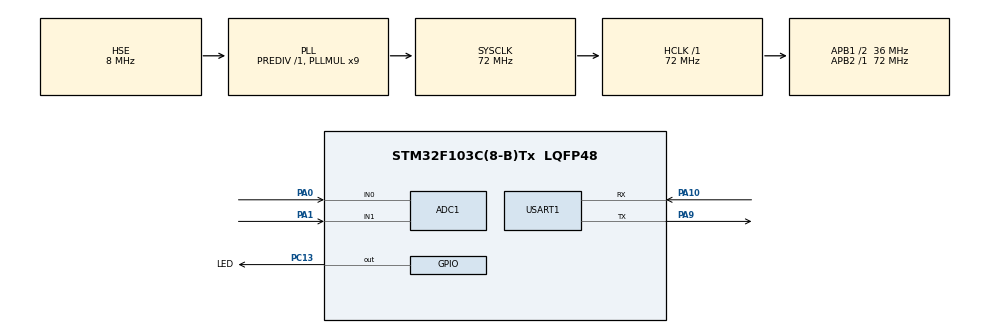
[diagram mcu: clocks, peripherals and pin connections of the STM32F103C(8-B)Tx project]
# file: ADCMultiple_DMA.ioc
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ADC1.Channel-0\#ChannelRegularConversion=ADC_CHANNEL_0
ADC1.Channel-1\#ChannelRegularConversion=ADC_CHANNEL_1
ADC1.ContinuousConvMode=ENABLE
ADC1.NbrOfConversion=2
ADC1.NbrOfConversionFlag=1
ADC1.Rank-0\#ChannelRegularConversion=1
ADC1.Rank-1\#ChannelRegularConversion=2
ADC1.SamplingTime-0\#ChannelRegularConversion=ADC_SAMPLETIME_1CYCLE_5
ADC1.SamplingTime-1\#ChannelRegularConversion=ADC_SAMPLETIME_1CYCLE_5
ADC1.master=1
Dma.ADC1.0.Direction=DMA_PERIPH_TO_MEMORY
Dma.ADC1.0.Instance=DMA1_Channel1
Dma.ADC1.0.MemDataAlignment=DMA_MDATAALIGN_HALFWORD
Dma.ADC1.0.MemInc=DMA_MINC_ENABLE
Dma.ADC1.0.Mode=DMA_NORMAL
Dma.ADC1.0.PeriphDataAlignment=DMA_PDATAALIGN_HALFWORD
Dma.ADC1.0.PeriphInc=DMA_PINC_DISABLE
Dma.ADC1.0.Priority=DMA_PRIORITY_LOW
Dma.Request0=ADC1
Mcu.Family=STM32F1
Mcu.Name=STM32F103C(8-B)Tx
Mcu.Package=LQFP48
NVIC.DMA1_Channel1_IRQn=true\:7\:0\:true\:false\:true\:false\:true\:true
NVIC.PriorityGroup=NVIC_PRIORITYGROUP_4
PA0-WKUP.Signal=ADCx_IN0
PA1.Signal=ADCx_IN1
PA10.Mode=Asynchronous
PA10.Signal=USART1_RX
PA13.Mode=Serial_Wire
PA13.Signal=SYS_JTMS-SWDIO
PA14.Mode=Serial_Wire
PA14.Signal=SYS_JTCK-SWCLK
PA9.Mode=Asynchronous
PA9.Signal=USART1_TX
PC13-TAMPER-RTC.GPIO_Label=LED
PC13-TAMPER-RTC.Signal=GPIO_Output
PD0-OSC_IN.Mode=HSE-External-Oscillator
PD0-OSC_IN.Signal=RCC_OSC_IN
PD1-OSC_OUT.Mode=HSE-External-Oscillator
PD1-OSC_OUT.Signal=RCC_OSC_OUT
ProjectManager.HeapSize=0x200
ProjectManager.StackSize=0x400
ProjectManager.TargetToolchain=MDK-ARM V5.32
RCC.ADCPresc=RCC_ADCPCLK2_DIV6
RCC.AHBFreq_Value=72000000
RCC.APB1CLKDivider=RCC_HCLK_DIV2
RCC.APB1Freq_Value=36000000
RCC.APB1TimFreq_Value=72000000
RCC.APB2Freq_Value=72000000
RCC.APB2TimFreq_Value=72000000
RCC.HCLKFreq_Value=72000000
RCC.PLLMUL=RCC_PLL_MUL9
RCC.PLLSourceVirtual=RCC_PLLSOURCE_HSE
RCC.SYSCLKFreq_VALUE=72000000
RCC.SYSCLKSource=RCC_SYSCLKSOURCE_PLLCLK
RCC.USBFreq_Value=72000000
SH.ADCx_IN0.0=ADC1_IN0,IN0
SH.ADCx_IN1.0=ADC1_IN1,IN1
USART1.VirtualMode=VM_ASYNC
board=custom

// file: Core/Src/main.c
/* USER CODE BEGIN Header */
/**
  ******************************************************************************
  * @file           : main.c
  * @brief          : Main program body
  ******************************************************************************
  * @attention
  *
  * Copyright (c) 2023 STMicroelectronics.
  * All rights reserved.
  *
  * This software is licensed under terms that can be found in the LICENSE file
  * in the root directory of this software component.
  * If no LICENSE file comes with this software, it is provided AS-IS.
  *
  ******************************************************************************
  */
/* USER CODE END Header */
#include "main.h"
#include "adc.h"
#include "dma.h"
#include "usart.h"
#include "gpio.h"

void SystemClock_Config(void);

/* USER CODE BEGIN 0 */
void dma_cir_and_adc_con(void);
void dma_nor_and_adc_con(void);
/* USER CODE END 0 */

int main(void)
{
  /* USER CODE BEGIN 1 */
	uint8_t time = 0;
  /* USER CODE END 1 */

  /* MCU Configuration--------------------------------------------------------*/

  /* Reset of all peripherals, Initializes the Flash interface and the Systick. */
  HAL_Init();

  /* Configure the system clock */
  SystemClock_Config();

  /* Initialize all configured peripherals */
  MX_GPIO_Init();
  MX_DMA_Init();
  MX_ADC1_Init();
  MX_USART1_UART_Init();
  /* USER CODE BEGIN 2 */
	HAL_ADCEx_Calibration_Start(&hadc1);
	HAL_ADC_Start_DMA(&hadc1, (uint32_t* )adc_buffer, ADCBUFFERSIZE);
  /* USER CODE END 2 */

  /* Infinite loop */
  /* USER CODE BEGIN WHILE */
  while (1)
  {
		if(time == 50)
		{
			HAL_GPIO_TogglePin(LED_GPIO_Port, LED_Pin);
			time = 0;
		}

		if(isadc)
		{
			isadc = 0;
//			dma_cir_and_adc_con();
			dma_nor_and_adc_con();
		}

		time++;
		HAL_Delay(10);
    /* USER CODE END WHILE */

  }
}

void SystemClock_Config(void)
{
  RCC_OscInitTypeDef RCC_OscInitStruct = {0};
  RCC_ClkInitTypeDef RCC_ClkInitStruct = {0};
  RCC_PeriphCLKInitTypeDef PeriphClkInit = {0};

  /** Initializes the RCC Oscillators according to the specified parameters
  * in the RCC_OscInitTypeDef structure.
  */
  RCC_OscInitStruct.OscillatorType = RCC_OSCILLATORTYPE_HSE;
  RCC_OscInitStruct.HSEState = RCC_HSE_ON;
  RCC_OscInitStruct.HSEPredivValue = RCC_HSE_PREDIV_DIV1;
  RCC_OscInitStruct.HSIState = RCC_HSI_ON;
  RCC_OscInitStruct.PLL.PLLState = RCC_PLL_ON;
  RCC_OscInitStruct.PLL.PLLSource = RCC_PLLSOURCE_HSE;
  RCC_OscInitStruct.PLL.PLLMUL = RCC_PLL_MUL9;
  if (HAL_RCC_OscConfig(&RCC_OscInitStruct) != HAL_OK)
  {
    Error_Handler();
  }

  /** Initializes the CPU, AHB and APB buses clocks
  */
  RCC_ClkInitStruct.ClockType = RCC_CLOCKTYPE_HCLK|RCC_CLOCKTYPE_SYSCLK
                              |RCC_CLOCKTYPE_PCLK1|RCC_CLOCKTYPE_PCLK2;
  RCC_ClkInitStruct.SYSCLKSource = RCC_SYSCLKSOURCE_PLLCLK;
  RCC_ClkInitStruct.AHBCLKDivider = RCC_SYSCLK_DIV1;
  RCC_ClkInitStruct.APB1CLKDivider = RCC_HCLK_DIV2;
  RCC_ClkInitStruct.APB2CLKDivider = RCC_HCLK_DIV1;

  if (HAL_RCC_ClockConfig(&RCC_ClkInitStruct, FLASH_LATENCY_2) != HAL_OK)
  {
    Error_Handler();
  }
  PeriphClkInit.PeriphClockSelection = RCC_PERIPHCLK_ADC;
  PeriphClkInit.AdcClockSelection = RCC_ADCPCLK2_DIV6;
  if (HAL_RCCEx_PeriphCLKConfig(&PeriphClkInit) != HAL_OK)
  {
    Error_Handler();
  }
}

/* USER CODE BEGIN 4 */
void HAL_ADC_ConvCpltCallback(ADC_HandleTypeDef* hadc)
{
	if(hadc == &hadc1)
	{
		isadc = 1;

	}
}

void dma_cir_and_adc_con(void)
{
	uint16_t senddata[ADCCHANNELNUM] = {0};
	for(int adcchannel = 0; adcchannel < ADCCHANNELNUM;)
	{
		for(int adcmean = 0; adcmean < ADCMEAN;)
		{
			senddata[adcchannel] += adc_buffer[adcchannel + adcmean * ADCCHANNELNUM];
			adcmean ++;
		}
		senddata[adcchannel] /= ADCMEAN;
		adcchannel ++;
	}
	Send_16s(&huart1, senddata, ADCCHANNELNUM);
}

void dma_nor_and_adc_con(void)
{
	uint16_t senddata[ADCCHANNELNUM] = {0};
	for(int adcchannel = 0; adcchannel < ADCCHANNELNUM;)
	{
		for(int adcmean = 0; adcmean < ADCMEAN;)
		{
			senddata[adcchannel] += adc_buffer[adcchannel + adcmean * ADCCHANNELNUM];
			adcmean ++;
		}
		senddata[adcchannel] /= ADCMEAN;
		adcchannel ++;
	}
	Send_16s(&huart1, senddata, ADCCHANNELNUM);

	HAL_ADC_Start_DMA(&hadc1, (uint32_t* )adc_buffer, ADCBUFFERSIZE);
}

/* USER CODE END 4 */

void Error_Handler(void)
{
  __disable_irq();
  while (1)
  {
  }
}
